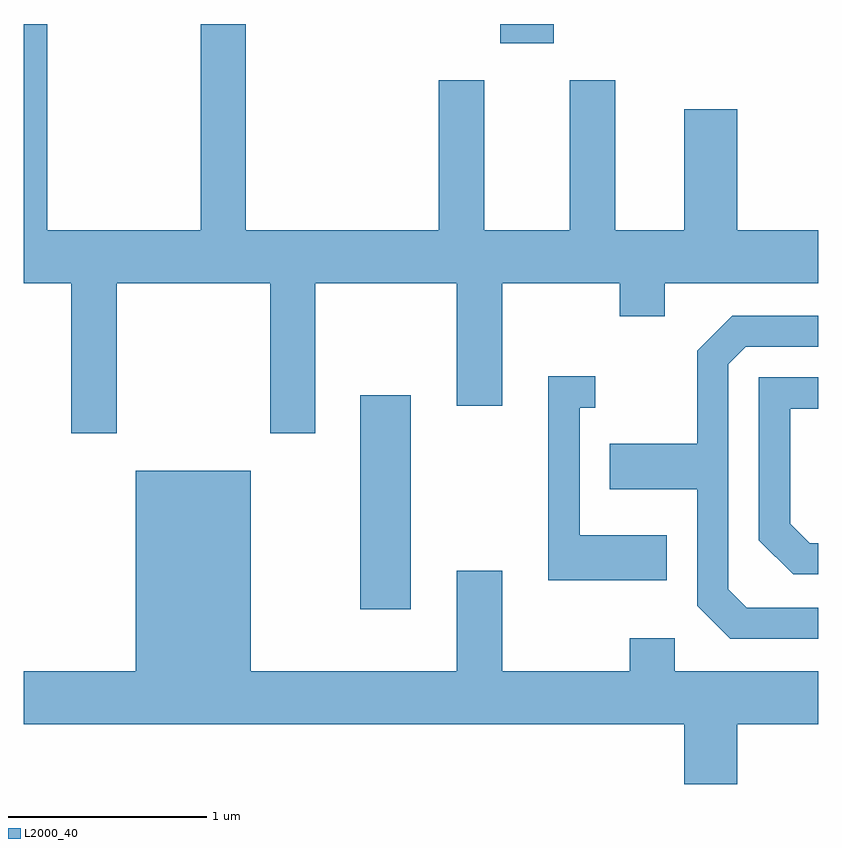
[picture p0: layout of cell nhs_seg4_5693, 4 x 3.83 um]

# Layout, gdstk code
import gdstk
lib = gdstk.Library(unit=1e-6, precision=1e-09)
def R(c, l, rs):  # rectangles x0, y0, x1, y1
    for r in rs: c.add(gdstk.rectangle(r[:2], r[2:], *l))
def P(c, l, *ps):  # polygons
    for p in ps: c.add(gdstk.Polygon(p, *l))
L2000_40 = (2000, 40)

nhs_seg4_5693 = lib.new_cell('nhs_seg4_5693')
R(nhs_seg4_5693, L2000_40, [(353.306,1353.036,353.559,1354.114), (354.011,1355.886,354.279,1355.982)])
P(nhs_seg4_5693, L2000_40, [(352.079,1354.676),(352.851,1354.676),(352.851,1353.921),(353.079,1353.921),(353.079,1354.676),(353.791,1354.676),(353.791,1354.061),(354.019,1354.061),(354.019,1354.676),(354.611,1354.676),(354.611,1354.511),(354.839,1354.511),(354.839,1354.676),(355.611,1354.676),(355.611,1354.944),(355.204,1354.944),(355.204,1355.554),(354.936,1355.554),(354.936,1354.944),(354.589,1354.944),(354.589,1355.699),(354.361,1355.699),(354.361,1354.944),(353.929,1354.944),(353.929,1355.699),(353.701,1355.699),(353.701,1354.944),(352.729,1354.944),(352.729,1355.982),(352.501,1355.982),(352.501,1354.944),(351.729,1354.944),(351.729,1355.982),(351.611,1355.982),(351.611,1354.676),(351.851,1354.676),(351.851,1353.921),(352.079,1353.921)],
  [(355.611,1353.044),(355.252,1353.044),(355.159,1353.137),(355.159,1354.269),(355.247,1354.356),(355.611,1354.356),(355.611,1354.514),(355.179,1354.514),(355.001,1354.337),(355.001,1353.869),(354.561,1353.869),(354.561,1353.641),(355.001,1353.641),(355.001,1353.054),(355.169,1352.886),(355.611,1352.886)],
  [(354.849,1353.409),(354.409,1353.409),(354.409,1354.051),(354.488,1354.051),(354.488,1354.209),(354.251,1354.209),(354.251,1353.181),(354.849,1353.181)],
  [(355.611,1353.369),(355.567,1353.369),(355.469,1353.467),(355.469,1354.046),(355.611,1354.046),(355.611,1354.204),(355.311,1354.204),(355.311,1353.384),(355.484,1353.211),(355.611,1353.211)],
  [(355.204,1352.456),(355.611,1352.456),(355.611,1352.724),(354.889,1352.724),(354.889,1352.889),(354.661,1352.889),(354.661,1352.724),(354.019,1352.724),(354.019,1353.229),(353.791,1353.229),(353.791,1352.724),(352.754,1352.724),(352.754,1353.734),(352.176,1353.734),(352.176,1352.724),(351.611,1352.724),(351.611,1352.456),(354.936,1352.456),(354.936,1352.156),(355.204,1352.156)])

lib.write_gds('nhs_seg4_5693.gds')
